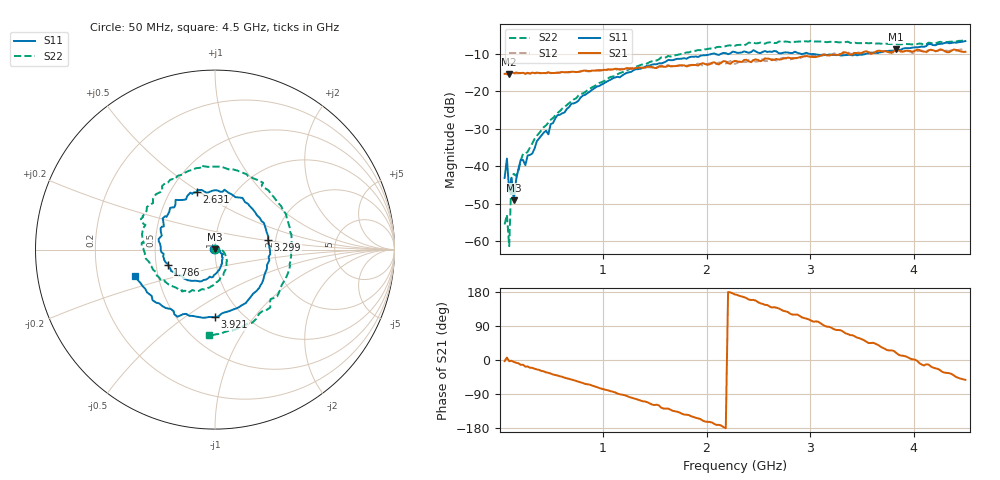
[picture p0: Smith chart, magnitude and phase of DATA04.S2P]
! Network Analyzer HP8722ES.07.74: Oct 30, 2002 Serial No. US39175660
! Hewlett-Packard
! 30 May 2012  16:40:10
! Frequency  S11  S21  S12  S22
# HZ  S  DB R  50
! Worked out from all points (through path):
!   201 points, 50 MHz to 4.5 GHz, reference 50 ohm
!   highest |S21| = -8.81 dB at 3.833 GHz (marker M1); lowest = -15.4 dB at 94.5 MHz (marker M2)
!   group delay of S21, straight-line fit = 257 ps
!   lowest |S11| = -49.1 dB at 139 MHz (marker M3), VSWR 1.01, Z = 50.2 + j0.309 ohm
!   |S11| at or under -10 dB: start of sweep to 2.052 GHz; 2.083 GHz to 2.14 GHz (56.14 MHz wide, 2.66 % of centre); 2.994 GHz to 3.538 GHz (544.3 MHz wide, 16.7 % of centre)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
!   |S22| runs from -61.3 to -6.4 dB; largest |S21 - S12| = 0.027
!   S11 on the Smith chart (normalised r, x): 50 MHz: 0.99, +0.01; 1.786 GHz: 0.58, -0.11; 2.631 GHz: 0.67, +0.49; 3.299 GHz: 1.82, +0.21; 3.921 GHz: 0.75, -0.66; 4.5 GHz: 0.37, -0.14
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5e7  -43.15 124.2  -15.35 -2.8  -15.25 -2.4  -55.54 30.2
7.225e7  -37.96 -0.9  -15.30 6.3  -15.47 4.2  -52.95 164.4
9.45e7  -46.79 35.4  -15.39 -3.2  -15.55 -4.0  -61.34 72.0
1.1675e8  -43.07 105.4  -14.82 -1.9  -15.12 -3.0  -42.62 82.2
1.39e8  -49.08 61.1  -15.16 -5.2  -15.32 -6.5  -42.03 76.9
1.6125e8  -43.58 5.3  -14.99 -7.3  -15.20 -8.7  -42.61 51.1
2.0575e8  -38.32 30.4  -15.13 -12.8  -15.16 -13.5  -38.44 44.6
2.5025e8  -39.73 21.8  -15.27 -17.6  -15.35 -17.8  -36.66 31.9
2.725e8  -37.14 17.2  -15.05 -17.0  -15.18 -17.5  -36.15 25.8
5.6175e8  -26.34 -28.5  -15.00 -41.0  -15.08 -40.3  -25.77 -15.9
8.065e8  -21.13 -63.2  -14.51 -60.8  -14.60 -61.0  -20.55 -47.1
1.54075e9  -12.54 -136.8  -13.38 -120.0  -13.40 -123.0  -11.47 -120.1
1.7855e9  -11.15 -162.2  -13.09 -144.0  -13.11 -142.8  -9.83 -142.8
2.275e9  -9.52 146.1  -11.88 172.9  -12.68 174.0  -7.85 173.0
2.631e9  -9.48 107.7  -11.70 138.4  -11.37 141.6  -6.92 136.7
3.0315e9  -10.06 53.7  -10.86 101.3  -10.49 103.9  -6.70 94.7
3.2985e9  -10.45 10.3  -10.04 78.3  -10.13 75.3  -6.91 64.1
3.76575e9  -9.18 -67.5  -9.62 25.2  -9.53 21.9  -7.39 4.0
3.8325e9  -9.07 -77.2  -8.81 18.9  -9.27 20.2  -7.41 -4.9
3.9215e9  -8.47 -90.2  -9.22 9.7  -9.30 9.8  -7.36 -15.7
4.144e9  -7.36 -119.2  -9.04 -12.0  -9.10 -11.9  -7.02 -46.3
4.5e9  -6.60 -161.5  -9.46 -52.4  -9.07 -54.4  -6.44 -94.1
